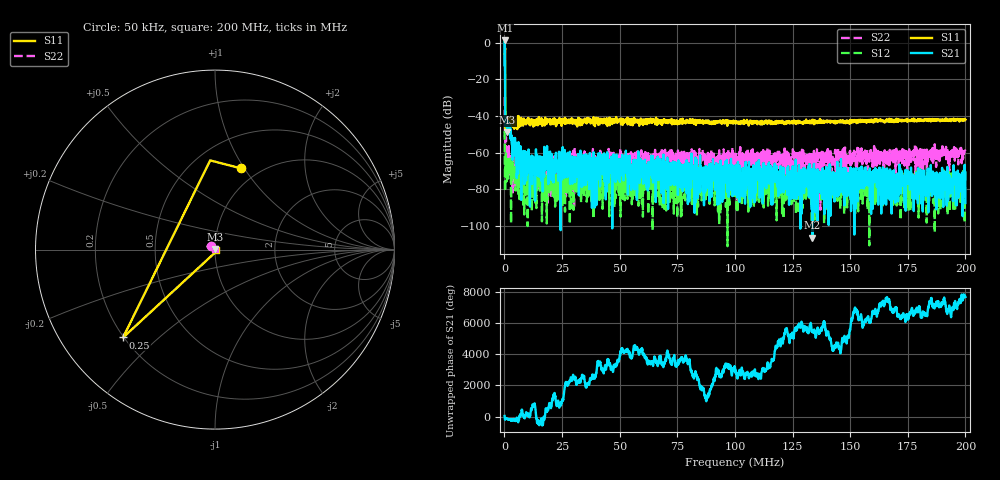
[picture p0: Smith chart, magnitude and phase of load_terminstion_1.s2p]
! 26-Feb-26 2:17:44 PM
! E:\VNA_MEASUREMENTS\HEATED_LOAD\LOAD_TERMINSTION_1.S2P
! CHANNEL.1
! TR.MEASUREMENT
! CORRECTED.DATA
# GHZ S RI R 50.0
! FREQ.GHZ  S11RE  S11IM  S21RE  S21IM  S12RE  S12IM  S22RE  S22IM
!; PortSelection: Port_12
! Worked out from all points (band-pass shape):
!   2000 points, 50 kHz to 200 MHz, reference 50 ohm
!   highest |S21| = 1.11 dB at 150 kHz (marker M1); lowest = -106.3 dB at 133.6 MHz (marker M2)
!   |S21| within 3 dB of the highest: 127.7 kHz to 164.8 kHz (37.12 kHz wide, 25.4 % of centre)
!   lowest |S11| = -49.0 dB at 1.25 MHz (marker M3), VSWR 1.01, Z = 50.3 + j0.22 ohm
!   |S11| at or under -10 dB: 270.3 kHz to end of sweep
!   |S22| runs from -91.2 to -29.9 dB; largest |S21 - S12| = 1.1
!   S11 on the Smith chart (normalised r, x): 50 kHz: 0.83, +0.97; 250 kHz: 0.20, -0.39; 200 MHz: 1.02, +0.00
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5e-05  0.145 0.4525  0.1921 0.1473  -0.00353 -0.00155  -0.0245 0.0208
0.000150025  -0.0269 0.4971  -0.7264 -0.8746  0.000507 -5.13e-05  -0.000576 -0.00549
0.00025005  -0.5122 -0.4897  -0.1009 0.0436  -2.32e-05 8.44e-05  -0.00168 -0.00161
0.0012503  0.00277 0.00219  -0.00613 -0.00444  0.000181 -0.000116  0.00117 0.000176
0.004451101  0.00677 0.000276  -0.000724 0.00122  0.000237 0.000178  0.000408 -0.000664
0.008252051  0.00644 -0.00111  0.000226 -1.64e-05  -0.000131 0.000328  0.000414 0.00024
0.01615403  0.00557 -0.0019  0.000692 0.000331  1.19e-05 0.000122  -1.37e-05 -0.000385
0.01775443  0.00781 0.000547  8.46e-05 -0.000324  5.36e-05 -9.62e-05  0.000317 -0.000742
0.0192548  0.00772 -0.000274  0.000252 -0.000319  -4.01e-05 -0.000162  0.000696 0.000458
0.03345835  0.00682 0.00105  -8.67e-05 -0.000297  -9.43e-05 -5.53e-05  0.000831 0.000107
0.03955988  0.00784 0.000312  0.000563 0.000167  -6.56e-05 0.000167  0.000457 0.000321
0.05176293  0.00648 -0.000694  -7.95e-05 0.000193  6.27e-05 -0.000113  0.000203 -0.000385
0.06236558  0.00756 -0.000519  0.000262 -1.88e-05  1.99e-05 -6.6e-06  0.000854 0.000424
0.06676668  0.00708 -0.000421  -0.000419 0.000371  4.85e-05 -4.2e-05  0.000605 0.000169
0.100075  0.00639 0.000225  -0.000101 -1.15e-05  3.17e-05 -0.000198  0.00055 0.000483
0.1333833  0.00699 9.11e-05  2.6e-05 8.9e-06  1.21e-05 -1.4e-06  3.84e-05 0.000252
0.1335834  0.0078 -0.000736  -2e-06 4.4e-06  -8.96e-05 1.1e-06  0.000756 0.000174
0.1526882  0.00686 -0.000147  0.00019 9.51e-05  -0.000216 -1.51e-05  0.000491 -0.000149
0.1548887  0.00712 -0.000172  0.000204 -0.000363  -2.25e-05 0.000143  0.00107 0.000733
0.1666917  0.0071 -0.000434  -5.43e-05 2.49e-05  -1.34e-05 -0.000139  0.000305 0.000625
0.1956989  0.00784 0.000153  0.000248 9.63e-05  0.00025 -4.67e-05  0.000867 0.000354
0.2  0.00783 0.000246  -1e-05 4.11e-05  -9.19e-05 7.89e-05  0.000574 0.00095
